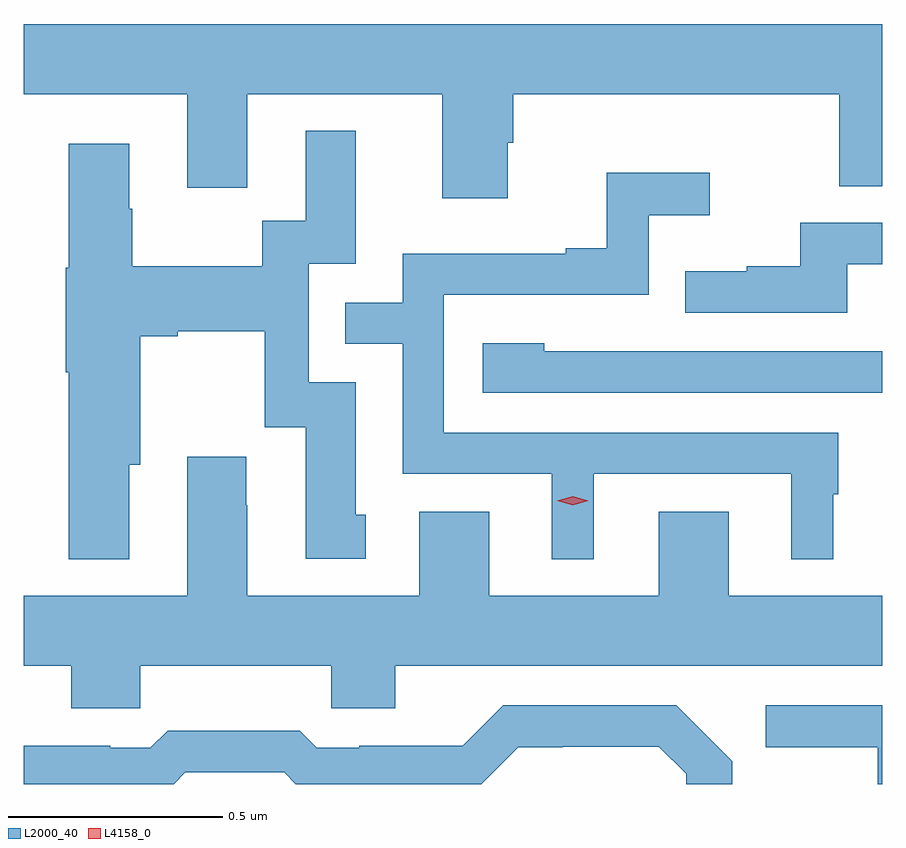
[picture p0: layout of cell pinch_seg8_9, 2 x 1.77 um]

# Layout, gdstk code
import gdstk
lib = gdstk.Library(unit=1e-6, precision=1e-09)
def P(c, l, *ps):  # polygons
    for p in ps: c.add(gdstk.Polygon(p, *l))
L2000_40 = (2000, 40)
L4158_0 = (4158, 0)

pinch_seg8_9 = lib.new_cell('pinch_seg8_9')
P(pinch_seg8_9, L2000_40, [(1117.262,1133.816),(1117.643,1133.816),(1117.643,1133.598),(1117.783,1133.598),(1117.783,1133.816),(1118.237,1133.816),(1118.237,1133.574),(1118.389,1133.574),(1118.389,1133.703),(1118.402,1133.703),(1118.402,1133.816),(1119.162,1133.816),(1119.162,1133.602),(1119.262,1133.602),(1119.262,1133.98),(1117.262,1133.98)],
  [(1117.507,1132.953),(1117.533,1132.953),(1117.533,1133.252),(1117.621,1133.252),(1117.621,1133.264),(1117.823,1133.264),(1117.823,1133.04),(1117.919,1133.04),(1117.919,1132.734),(1118.059,1132.734),(1118.059,1132.836),(1118.035,1132.836),(1118.035,1133.145),(1117.926,1133.145),(1117.926,1133.421),(1118.035,1133.421),(1118.035,1133.731),(1117.919,1133.731),(1117.919,1133.522),(1117.818,1133.522),(1117.818,1133.416),(1117.515,1133.416),(1117.515,1133.55),(1117.507,1133.55),(1117.507,1133.701),(1117.367,1133.701),(1117.367,1133.412),(1117.36,1133.412),(1117.36,1133.168),(1117.367,1133.168),(1117.367,1132.733),(1117.507,1132.733)],
  [(1118.59,1132.932),(1119.05,1132.932),(1119.05,1132.733),(1119.148,1132.733),(1119.148,1132.884),(1119.16,1132.884),(1119.16,1133.028),(1118.241,1133.028),(1118.241,1133.349),(1118.718,1133.349),(1118.718,1133.534),(1118.86,1133.534),(1118.86,1133.633),(1118.62,1133.633),(1118.62,1133.458),(1118.525,1133.458),(1118.525,1133.445),(1118.145,1133.445),(1118.145,1133.331),(1118.011,1133.331),(1118.011,1133.235),(1118.145,1133.235),(1118.145,1132.932),(1118.492,1132.932),(1118.492,1132.733),(1118.59,1132.733)],
  [(1119.181,1133.42),(1119.262,1133.42),(1119.262,1133.517),(1119.071,1133.517),(1119.071,1133.416),(1118.947,1133.416),(1118.947,1133.404),(1118.803,1133.404),(1118.803,1133.307),(1119.181,1133.307)],
  [(1119.262,1133.217),(1118.711,1133.217),(1118.711,1133.218),(1118.475,1133.218),(1118.475,1133.236),(1118.331,1133.236),(1118.331,1133.121),(1119.262,1133.121)],
  [(1117.783,1132.859),(1117.78,1132.859),(1117.78,1132.972),(1117.643,1132.972),(1117.643,1132.648),(1117.262,1132.648),(1117.262,1132.484),(1117.373,1132.484),(1117.373,1132.386),(1117.533,1132.386),(1117.533,1132.484),(1117.978,1132.484),(1117.978,1132.386),(1118.128,1132.386),(1118.128,1132.484),(1119.262,1132.484),(1119.262,1132.648),(1118.905,1132.648),(1118.905,1132.843),(1118.741,1132.843),(1118.741,1132.648),(1118.347,1132.648),(1118.347,1132.843),(1118.183,1132.843),(1118.183,1132.648),(1117.783,1132.648)],
  [(1119.262,1132.392),(1118.991,1132.392),(1118.991,1132.295),(1119.252,1132.295),(1119.252,1132.209),(1119.262,1132.209)],
  [(1117.638,1132.236),(1117.869,1132.236),(1117.896,1132.209),(1118.328,1132.209),(1118.414,1132.295),(1118.518,1132.295),(1118.518,1132.296),(1118.742,1132.296),(1118.805,1132.233),(1118.805,1132.209),(1118.913,1132.209),(1118.913,1132.262),(1118.782,1132.392),(1118.379,1132.392),(1118.285,1132.298),(1118.044,1132.298),(1118.044,1132.293),(1117.944,1132.293),(1117.905,1132.333),(1117.597,1132.333),(1117.557,1132.293),(1117.463,1132.293),(1117.463,1132.298),(1117.262,1132.298),(1117.262,1132.209),(1117.611,1132.209)])
P(pinch_seg8_9, L4158_0, [(1118.541,1132.859),(1118.505,1132.869),(1118.505,1132.869),(1118.505,1132.869),(1118.541,1132.879),(1118.577,1132.869),(1118.577,1132.869),(1118.577,1132.869)])

lib.write_gds('pinch_seg8_9.gds')
